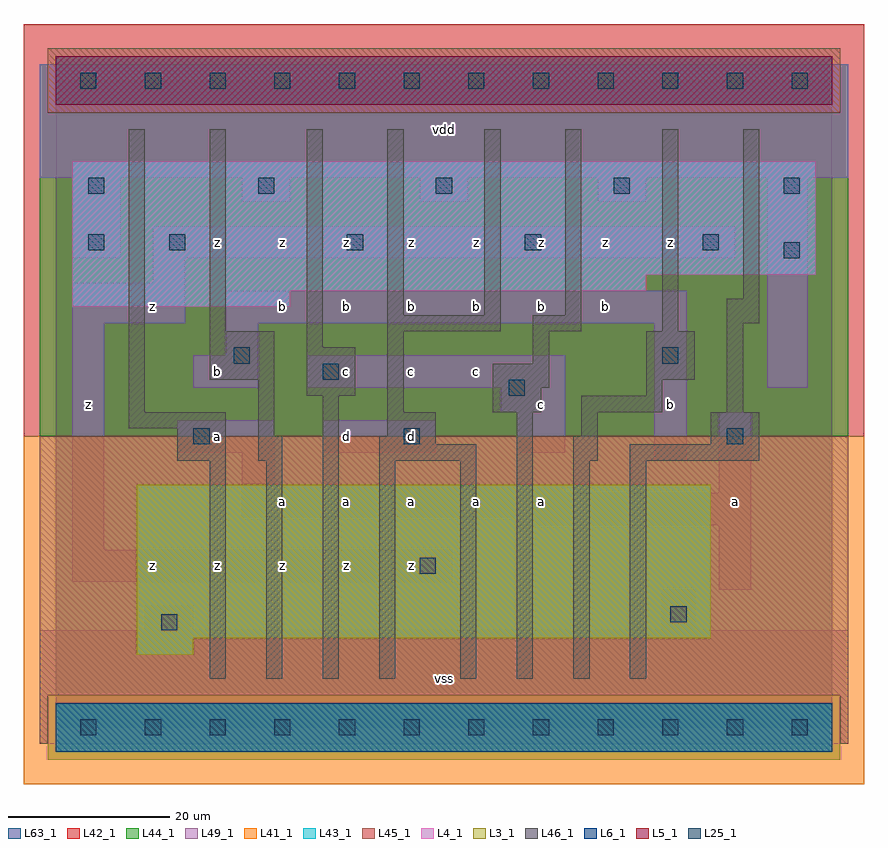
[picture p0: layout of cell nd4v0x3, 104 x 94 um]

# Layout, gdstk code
import gdstk
lib = gdstk.Library(unit=1e-6, precision=1e-09)
def R(c, l, rs):  # rectangles x0, y0, x1, y1
    for r in rs: c.add(gdstk.rectangle(r[:2], r[2:], *l))
def A(c, l, x, y, w, h, nx, ny, dx, dy):  # array of equal rectangles
    R(c, l, [(x+i*dx, y+j*dy, x+i*dx+w, y+j*dy+h) for i in range(nx) for j in range(ny)])
L3_1 = (3, 1)
L4_1 = (4, 1)
L5_1 = (5, 1)
L6_1 = (6, 1)
L25_1 = (25, 1)
L41_1 = (41, 1)
L42_1 = (42, 1)
L43_1 = (43, 1)
L44_1 = (44, 1)
L45_1 = (45, 1)
L46_1 = (46, 1)
L49_1 = (49, 1)
L63_1 = (63, 1)

nd4v0x3 = lib.new_cell('nd4v0x3')
R(nd4v0x3, L3_1, [(10,9,17,11), (10,11,81,30)])
R(nd4v0x3, L4_1, [(2,52,29,54), (2,54,73,56), (2,56,94,70)])
R(nd4v0x3, L5_1, [(0,77,96,83)])
R(nd4v0x3, L6_1, [(0,-3,96,3), (0,-3,96,3)])
A(nd4v0x3, L25_1, 3, -1, 2, 2, 12, 2, 8, 80)
A(nd4v0x3, L25_1, 14, 59, 2, 2, 4, 1, 22, 0)
A(nd4v0x3, L25_1, 25, 66, 2, 2, 3, 1, 22, 0)
R(nd4v0x3, L25_1, [(13,12,15,14), (76,13,78,15), (45,19,47,21), (17,35,19,37), (43,35,45,37), (83,35,85,37), (56,41,58,43), (33,43,35,45), (22,45,24,47), (75,45,77,47), (90,58,92,60), (4,59,6,61), (4,66,6,68), (90,66,92,68)])
R(nd4v0x3, L41_1, [(-4,-7,100,36)])
R(nd4v0x3, L42_1, [(-4,36,100,87)])
R(nd4v0x3, L43_1, [(0,-3,96,3), (10,9,17,11), (10,11,81,30), (2,52,29,54), (2,54,73,56), (2,56,94,70), (0,77,96,83)])
R(nd4v0x3, L44_1, [(-1,-4,97,4), (-2,36,98,76), (-2,76,-1,82), (97,76,98,82)])
R(nd4v0x3, L45_1, [(-2,-2,-1,4), (97,-2,98,4), (-2,4,98,36), (-1,76,97,84)])
R(nd4v0x3, L46_1, [(19,6,21,33), (26,6,28,33), (33,6,35,41), (40,6,42,33), (50,6,52,33), (57,6,59,39), (64,6,66,33), (71,6,73,33), (15,33,21,37), (25,33,28,36), (40,33,52,35), (64,33,67,36), (71,33,87,35), (40,35,47,36), (81,35,87,39), (25,36,27,43), (41,36,47,39), (65,36,67,39), (9,37,21,39), (9,39,11,74), (41,39,43,49), (54,39,60,42), (65,39,75,41), (83,39,85,50), (31,41,37,47), (73,41,75,43), (54,42,61,45), (19,43,27,49), (73,43,79,49), (59,45,61,49), (31,47,33,74), (19,49,21,74), (41,49,55,51), (59,49,65,51), (75,49,77,74), (83,50,87,53), (41,51,43,74), (53,51,55,74), (63,51,65,74), (85,53,87,74)])
A(nd4v0x3, L49_1, 23, 65, 6, 3, 3, 1, 22, 0)
R(nd4v0x3, L49_1, [(-2,-2,98,12), (11,12,17,15), (75,12,79,17), (82,17,86,25), (2,18,49,22), (2,22,6,50), (57,25,86,26), (23,26,86,29), (23,29,63,30), (82,29,86,39), (23,30,27,34), (74,33,78,50), (15,34,27,38), (33,34,47,38), (57,34,63,39), (55,39,63,42), (17,42,25,46), (31,42,63,46), (88,42,93,68), (21,46,25,50), (2,50,16,55), (21,50,78,54), (12,55,16,58), (2,58,8,68), (12,58,84,62), (-2,68,98,82)])
R(nd4v0x3, L63_1, [(0,0,96,80)])
nd4v0x3.add(gdstk.Label('z', (12,20), layer=49, texttype=1))
nd4v0x3.add(gdstk.Label('z', (4,40), layer=49, texttype=1))
nd4v0x3.add(gdstk.Label('z', (12,52), layer=49, texttype=1))
nd4v0x3.add(gdstk.Label('z', (20,20), layer=49, texttype=1))
nd4v0x3.add(gdstk.Label('z', (28,20), layer=49, texttype=1))
nd4v0x3.add(gdstk.Label('a', (28,28), layer=49, texttype=1))
nd4v0x3.add(gdstk.Label('a', (20,36), layer=49, texttype=1))
nd4v0x3.add(gdstk.Label('b', (20,44), layer=49, texttype=1))
nd4v0x3.add(gdstk.Label('b', (28,52), layer=49, texttype=1))
nd4v0x3.add(gdstk.Label('z', (20,60), layer=49, texttype=1))
nd4v0x3.add(gdstk.Label('z', (28,60), layer=49, texttype=1))
nd4v0x3.add(gdstk.Label('vss', (48,6), layer=49, texttype=1))
nd4v0x3.add(gdstk.Label('z', (36,20), layer=49, texttype=1))
nd4v0x3.add(gdstk.Label('a', (36,28), layer=49, texttype=1))
nd4v0x3.add(gdstk.Label('z', (44,20), layer=49, texttype=1))
nd4v0x3.add(gdstk.Label('a', (44,28), layer=49, texttype=1))
nd4v0x3.add(gdstk.Label('a', (52,28), layer=49, texttype=1))
nd4v0x3.add(gdstk.Label('d', (36,36), layer=49, texttype=1))
nd4v0x3.add(gdstk.Label('c', (36,44), layer=49, texttype=1))
nd4v0x3.add(gdstk.Label('d', (44,36), layer=49, texttype=1))
nd4v0x3.add(gdstk.Label('c', (44,44), layer=49, texttype=1))
nd4v0x3.add(gdstk.Label('c', (52,44), layer=49, texttype=1))
nd4v0x3.add(gdstk.Label('b', (44,52), layer=49, texttype=1))
nd4v0x3.add(gdstk.Label('b', (52,52), layer=49, texttype=1))
nd4v0x3.add(gdstk.Label('b', (36,52), layer=49, texttype=1))
nd4v0x3.add(gdstk.Label('z', (36,60), layer=49, texttype=1))
nd4v0x3.add(gdstk.Label('z', (44,60), layer=49, texttype=1))
nd4v0x3.add(gdstk.Label('z', (52,60), layer=49, texttype=1))
nd4v0x3.add(gdstk.Label('vdd', (48,74), layer=49, texttype=1))
nd4v0x3.add(gdstk.Label('a', (60,28), layer=49, texttype=1))
nd4v0x3.add(gdstk.Label('c', (60,40), layer=49, texttype=1))
nd4v0x3.add(gdstk.Label('b', (76,40), layer=49, texttype=1))
nd4v0x3.add(gdstk.Label('b', (68,52), layer=49, texttype=1))
nd4v0x3.add(gdstk.Label('b', (60,52), layer=49, texttype=1))
nd4v0x3.add(gdstk.Label('z', (60,60), layer=49, texttype=1))
nd4v0x3.add(gdstk.Label('z', (68,60), layer=49, texttype=1))
nd4v0x3.add(gdstk.Label('z', (76,60), layer=49, texttype=1))
nd4v0x3.add(gdstk.Label('a', (84,28), layer=49, texttype=1))

lib.write_gds('nd4v0x3.gds')
